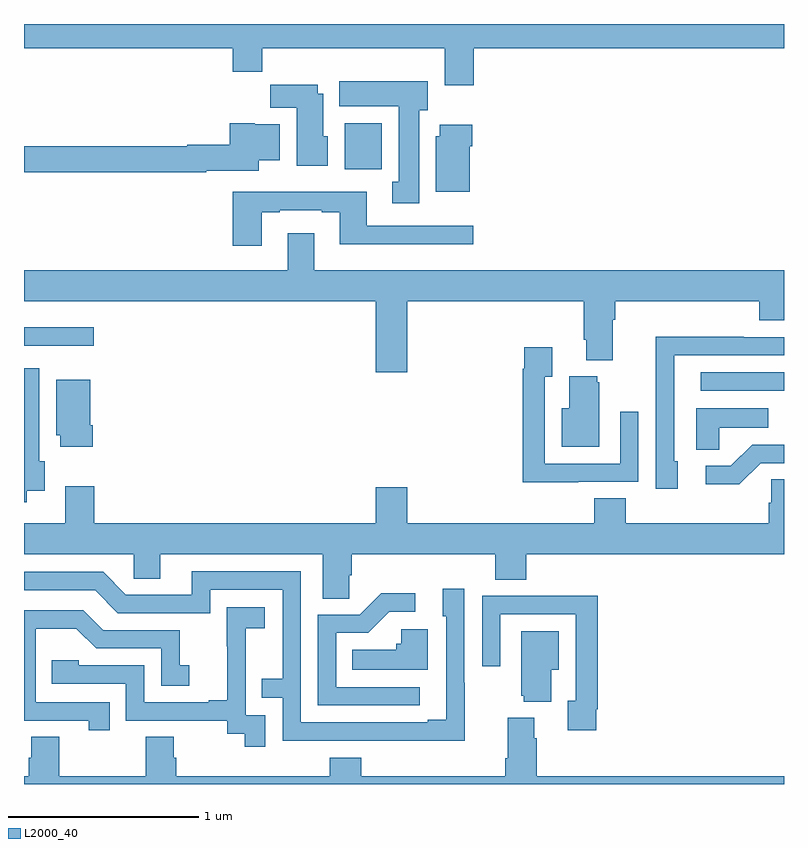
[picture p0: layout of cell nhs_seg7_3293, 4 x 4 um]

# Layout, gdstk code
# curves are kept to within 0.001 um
import gdstk
lib = gdstk.Library(unit=1e-6, precision=1e-09)
def R(c, l, rs):  # rectangles x0, y0, x1, y1
    for r in rs: c.add(gdstk.rectangle(r[:2], r[2:], *l))
def P(c, l, *ps):  # polygons
    for p in ps: c.add(gdstk.Polygon(p, *l))
L2000_40 = (2000, 40)

nhs_seg7_3293 = lib.new_cell('nhs_seg7_3293')
R(nhs_seg7_3293, L2000_40, [(322.563,1076.07,323,1076.166), (319,1076.307,319.366,1076.404), (320.687,1077.236,320.884,1077.478)])
P(nhs_seg7_3293, L2000_40, [(321.368,1077.872),(323,1077.872),(323,1078),(319,1078),(319,1077.872),(320.099,1077.872),(320.099,1077.748),(320.255,1077.748),(320.255,1077.872),(321.215,1077.872),(321.215,1077.678),(321.368,1077.678)],
  [(321.079,1077.546),(321.124,1077.546),(321.124,1077.7),(320.66,1077.7),(320.66,1077.566),(320.972,1077.566),(320.972,1077.17),(320.939,1077.17),(320.939,1077.057),(321.079,1077.057)],
  [(320.599,1077.408),(320.575,1077.408),(320.575,1077.634),(320.545,1077.634),(320.545,1077.679),(320.296,1077.679),(320.296,1077.56),(320.435,1077.56),(320.435,1077.254),(320.599,1077.254)],
  [(319.96,1077.227),(320.236,1077.227),(320.236,1077.284),(320.347,1077.284),(320.347,1077.472),(320.214,1077.472),(320.214,1077.478),(320.084,1077.478),(320.084,1077.364),(319.86,1077.364),(319.86,1077.356),(319,1077.356),(319,1077.22),(319.96,1077.22)],
  [(321.346,1077.356),(321.359,1077.356),(321.359,1077.469),(321.188,1077.469),(321.188,1077.408),(321.167,1077.408),(321.167,1077.116),(321.346,1077.116)],
  [(320.251,1077.009),(320.347,1077.009),(320.347,1077.021),(320.567,1077.021),(320.567,1077.009),(320.663,1077.009),(320.663,1076.84),(321.364,1076.84),(321.364,1076.937),(320.803,1076.937),(320.803,1077.118),(320.099,1077.118),(320.099,1076.832),(320.251,1076.832)],
  [(321.016,1076.54),(321.947,1076.54),(321.947,1076.338),(321.959,1076.338),(321.959,1076.231),(322.099,1076.231),(322.099,1076.444),(322.112,1076.444),(322.112,1076.54),(322.871,1076.54),(322.871,1076.441),(323,1076.441),(323,1076.704),(320.527,1076.704),(320.527,1076.899),(320.387,1076.899),(320.387,1076.704),(319,1076.704),(319,1076.54),(320.852,1076.54),(320.852,1076.166),(321.016,1076.166)],
  [(322.441,1075.698),(322.422,1075.698),(322.422,1076.256),(323,1076.256),(323,1076.352),(322.787,1076.352),(322.787,1076.354),(322.324,1076.354),(322.324,1076.047),(322.326,1076.047),(322.326,1075.554),(322.441,1075.554)],
  [(321.917,1075.59),(322.233,1075.59),(322.233,1075.96),(322.137,1075.96),(322.137,1075.686),(321.741,1075.686),(321.741,1076.143),(321.781,1076.143),(321.781,1076.299),(321.633,1076.299),(321.633,1076.186),(321.625,1076.186),(321.625,1075.589),(321.917,1075.589)],
  [(319.015,1075.544),(319.108,1075.544),(319.108,1075.698),(319.081,1075.698),(319.081,1076.188),(319,1076.188),(319,1075.484),(319.015,1075.484)],
  [(322.027,1076.115),(322.016,1076.115),(322.016,1076.146),(321.869,1076.146),(321.869,1075.978),(321.83,1075.978),(321.83,1075.775),(322.027,1075.775)],
  [(319.361,1075.888),(319.348,1075.888),(319.348,1076.128),(319.169,1076.128),(319.169,1075.836),(319.19,1075.836),(319.19,1075.776),(319.361,1075.776)],
  [(322.659,1075.874),(322.916,1075.874),(322.916,1075.978),(322.538,1075.978),(322.538,1075.759),(322.659,1075.759)],
  [(322.878,1075.689),(323,1075.689),(323,1075.785),(322.832,1075.785),(322.721,1075.674),(322.587,1075.674),(322.587,1075.577),(322.765,1075.577)],
  [(320.712,1075.099),(320.726,1075.099),(320.726,1075.208),(321.479,1075.208),(321.479,1075.075),(321.644,1075.075),(321.644,1075.208),(323,1075.208),(323,1075.604),(322.932,1075.604),(322.932,1075.481),(322.919,1075.481),(322.919,1075.372),(322.166,1075.372),(322.166,1075.505),(322.001,1075.505),(322.001,1075.372),(321.016,1075.372),(321.016,1075.561),(320.852,1075.561),(320.852,1075.372),(319.37,1075.372),(319.37,1075.567),(319.217,1075.567),(319.217,1075.372),(319,1075.372),(319,1075.208),(319.578,1075.208),(319.578,1075.081),(319.717,1075.081),(319.717,1075.208),(320.573,1075.208),(320.573,1074.976),(320.712,1074.976)],
  [(321.321,1074.533),(321.318,1074.533),(321.318,1075.027),(321.203,1075.027),(321.203,1074.882),(321.222,1074.882),(321.222,1074.337),(321.125,1074.337),(321.125,1074.324),(320.457,1074.324),(320.457,1075.119),(319.883,1075.119),(319.883,1074.996),(319.536,1074.996),(319.416,1075.116),(319,1075.116),(319,1075.02),(319.374,1075.02),(319.494,1074.9),(319.98,1074.9),(319.98,1075.023),(320.361,1075.023),(320.361,1074.554),(320.251,1074.554),(320.251,1074.453),(320.361,1074.453),(320.361,1074.228),(321.321,1074.227)],
  [(321.082,1074.51),(320.643,1074.51),(320.643,1074.795),(320.812,1074.795),(320.923,1074.906),(321.058,1074.906),(321.058,1075.004),(320.879,1075.004),(320.766,1074.891),(320.547,1074.891),(320.547,1074.414),(321.082,1074.414)],
  [(322.012,1074.394),(322.019,1074.394),(322.019,1074.992),(321.727,1074.992),(321.727,1074.99),(321.411,1074.99),(321.411,1074.621),(321.507,1074.621),(321.507,1074.894),(321.903,1074.894),(321.903,1074.438),(321.863,1074.438),(321.863,1074.282),(322.012,1074.282)],
  [(320.271,1074.363),(320.166,1074.363),(320.166,1074.593),(320.168,1074.593),(320.168,1074.821),(320.266,1074.821),(320.266,1074.931),(320.068,1074.931),(320.068,1074.725),(320.069,1074.725),(320.069,1074.442),(319.973,1074.442),(319.973,1074.429),(319.632,1074.429),(319.632,1074.624),(319.287,1074.624),(319.287,1074.651),(319.147,1074.651),(319.147,1074.528),(319.536,1074.528),(319.536,1074.333),(320.07,1074.333),(320.07,1074.265),(320.163,1074.265),(320.163,1074.195),(320.271,1074.195)],
  [(319.451,1074.429),(319.062,1074.429),(319.062,1074.818),(319.276,1074.818),(319.38,1074.714),(319.722,1074.714),(319.722,1074.516),(319.87,1074.516),(319.87,1074.625),(319.821,1074.625),(319.821,1074.81),(319.417,1074.81),(319.312,1074.915),(319,1074.915),(319,1074.333),(319.34,1074.333),(319.34,1074.282),(319.451,1074.282)],
  [(321.124,1074.814),(320.985,1074.814),(320.985,1074.738),(320.959,1074.738),(320.959,1074.706),(320.728,1074.706),(320.728,1074.602),(321.124,1074.602)],
  [(321.775,1074.602),(321.814,1074.602),(321.814,1074.805),(321.617,1074.805),(321.617,1074.465),(321.629,1074.465),(321.629,1074.434),(321.775,1074.434)],
  [(323,1074.04),(321.698,1074.04),(321.698,1074.242),(321.685,1074.242),(321.685,1074.349),(321.545,1074.349),(321.545,1074.136),(321.533,1074.136),(321.533,1074.04),(320.774,1074.04),(320.774,1074.139),(320.609,1074.139),(320.609,1074.04),(319.802,1074.04),(319.802,1074.138),(319.789,1074.138),(319.789,1074.248),(319.642,1074.248),(319.642,1074.04),(319.185,1074.04),(319.185,1074.248),(319.037,1074.248),(319.037,1074.138),(319.025,1074.138),(319.025,1074.04),(319,1074.04),(319,1074),(323,1074)])

lib.write_gds('nhs_seg7_3293.gds')
